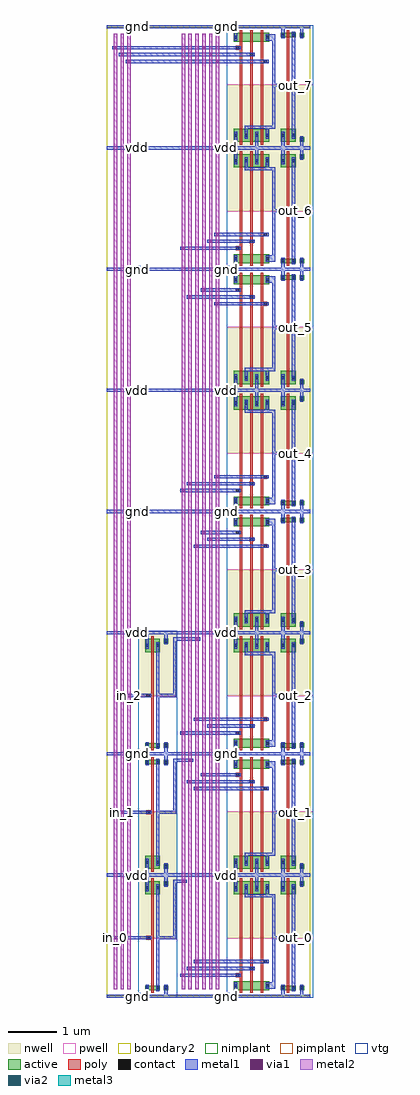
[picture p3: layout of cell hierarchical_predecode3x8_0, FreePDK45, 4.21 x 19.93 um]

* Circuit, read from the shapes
.subckt hierarchical_predecode3x8_0 gnd in_0 in_1 in_2 out_0 out_1 out_2 out_3 out_4 out_5 out_6 out_7 vdd
M1 pand3_3/A in_0 gnd gnd nfet w=0.09u l=0.05u
M2 pand3_3/B in_1 gnd gnd nfet w=0.09u l=0.05u
M3 pand3_3/C in_2 gnd gnd nfet w=0.09u l=0.05u
M4 pand3_3/pnand3_0_0/nmos_m1_w0_180_sm1_dactive_3/D pand3_3/A gnd gnd nfet w=0.18u l=0.05u
M5 pand3_4/pnand3_0_0/nmos_m1_w0_180_sm1_dactive_3/D in_0 gnd gnd nfet w=0.18u l=0.05u
M6 pand3_5/pnand3_0_0/nmos_m1_w0_180_sm1_dactive_3/D pand3_3/A gnd gnd nfet w=0.18u l=0.05u
M7 pand3_6/pnand3_0_0/nmos_m1_w0_180_sm1_dactive_3/D in_0 gnd gnd nfet w=0.18u l=0.05u
M8 pand3_7/pnand3_0_0/nmos_m1_w0_180_sm1_dactive_3/D pand3_3/A gnd gnd nfet w=0.18u l=0.05u
M9 pand3_8/pnand3_0_0/nmos_m1_w0_180_sm1_dactive_3/D in_0 gnd gnd nfet w=0.18u l=0.05u
M10 pand3_9/pnand3_0_0/nmos_m1_w0_180_sm1_dactive_3/D pand3_3/A gnd gnd nfet w=0.18u l=0.05u
M11 pand3_10/pnand3_0_0/nmos_m1_w0_180_sm1_dactive_3/D in_0 gnd gnd nfet w=0.18u l=0.05u
M12 pand3_3/pnand3_0_0/nmos_m1_w0_180_sactive_dactive_4/D pand3_3/B pand3_3/pnand3_0_0/nmos_m1_w0_180_sm1_dactive_3/D gnd nfet w=0.18u l=0.05u
M13 pand3_4/pnand3_0_0/nmos_m1_w0_180_sactive_dactive_4/D pand3_3/B pand3_4/pnand3_0_0/nmos_m1_w0_180_sm1_dactive_3/D gnd nfet w=0.18u l=0.05u
M14 pand3_5/pnand3_0_0/nmos_m1_w0_180_sactive_dactive_4/D in_1 pand3_5/pnand3_0_0/nmos_m1_w0_180_sm1_dactive_3/D gnd nfet w=0.18u l=0.05u
M15 pand3_6/pnand3_0_0/nmos_m1_w0_180_sactive_dactive_4/D in_1 pand3_6/pnand3_0_0/nmos_m1_w0_180_sm1_dactive_3/D gnd nfet w=0.18u l=0.05u
M16 pand3_7/pnand3_0_0/nmos_m1_w0_180_sactive_dactive_4/D pand3_3/B pand3_7/pnand3_0_0/nmos_m1_w0_180_sm1_dactive_3/D gnd nfet w=0.18u l=0.05u
M17 pand3_8/pnand3_0_0/nmos_m1_w0_180_sactive_dactive_4/D pand3_3/B pand3_8/pnand3_0_0/nmos_m1_w0_180_sm1_dactive_3/D gnd nfet w=0.18u l=0.05u
M18 pand3_9/pnand3_0_0/nmos_m1_w0_180_sactive_dactive_4/D in_1 pand3_9/pnand3_0_0/nmos_m1_w0_180_sm1_dactive_3/D gnd nfet w=0.18u l=0.05u
M19 pand3_10/pnand3_0_0/nmos_m1_w0_180_sactive_dactive_4/D in_1 pand3_10/pnand3_0_0/nmos_m1_w0_180_sm1_dactive_3/D gnd nfet w=0.18u l=0.05u
M20 pand3_3/pdriver_1/A pand3_3/C pand3_3/pnand3_0_0/nmos_m1_w0_180_sactive_dactive_4/D gnd nfet w=0.18u l=0.05u
M21 pand3_4/pdriver_1/A pand3_3/C pand3_4/pnand3_0_0/nmos_m1_w0_180_sactive_dactive_4/D gnd nfet w=0.18u l=0.05u
M22 pand3_5/pdriver_1/A pand3_3/C pand3_5/pnand3_0_0/nmos_m1_w0_180_sactive_dactive_4/D gnd nfet w=0.18u l=0.05u
M23 pand3_6/pdriver_1/A pand3_3/C pand3_6/pnand3_0_0/nmos_m1_w0_180_sactive_dactive_4/D gnd nfet w=0.18u l=0.05u
M24 pand3_7/pdriver_1/A in_2 pand3_7/pnand3_0_0/nmos_m1_w0_180_sactive_dactive_4/D gnd nfet w=0.18u l=0.05u
M25 pand3_8/pdriver_1/A in_2 pand3_8/pnand3_0_0/nmos_m1_w0_180_sactive_dactive_4/D gnd nfet w=0.18u l=0.05u
M26 pand3_9/pdriver_1/A in_2 pand3_9/pnand3_0_0/nmos_m1_w0_180_sactive_dactive_4/D gnd nfet w=0.18u l=0.05u
M27 pand3_10/pdriver_1/A in_2 pand3_10/pnand3_0_0/nmos_m1_w0_180_sactive_dactive_4/D gnd nfet w=0.18u l=0.05u
M28 out_0 pand3_3/pdriver_1/A gnd gnd nfet w=0.09u l=0.05u
M29 out_1 pand3_4/pdriver_1/A gnd gnd nfet w=0.09u l=0.05u
M30 out_2 pand3_5/pdriver_1/A gnd gnd nfet w=0.09u l=0.05u
M31 out_3 pand3_6/pdriver_1/A gnd gnd nfet w=0.09u l=0.05u
M32 out_4 pand3_7/pdriver_1/A gnd gnd nfet w=0.09u l=0.05u
M33 out_5 pand3_8/pdriver_1/A gnd gnd nfet w=0.09u l=0.05u
M34 out_6 pand3_9/pdriver_1/A gnd gnd nfet w=0.09u l=0.05u
M35 out_7 pand3_10/pdriver_1/A gnd gnd nfet w=0.09u l=0.05u
M36 pand3_3/A in_0 vdd vdd pfet w=0.27u l=0.05u
M37 pand3_3/B in_1 vdd vdd pfet w=0.27u l=0.05u
M38 pand3_3/C in_2 vdd vdd pfet w=0.27u l=0.05u
M39 pand3_3/pdriver_1/A pand3_3/A vdd vdd pfet w=0.27u l=0.05u
M40 pand3_4/pdriver_1/A in_0 vdd vdd pfet w=0.27u l=0.05u
M41 pand3_5/pdriver_1/A pand3_3/A vdd vdd pfet w=0.27u l=0.05u
M42 pand3_6/pdriver_1/A in_0 vdd vdd pfet w=0.27u l=0.05u
M43 pand3_7/pdriver_1/A pand3_3/A vdd vdd pfet w=0.27u l=0.05u
M44 pand3_8/pdriver_1/A in_0 vdd vdd pfet w=0.27u l=0.05u
M45 pand3_9/pdriver_1/A pand3_3/A vdd vdd pfet w=0.27u l=0.05u
M46 pand3_10/pdriver_1/A in_0 vdd vdd pfet w=0.27u l=0.05u
M47 vdd pand3_3/B pand3_3/pdriver_1/A vdd pfet w=0.27u l=0.05u
M48 vdd pand3_3/B pand3_4/pdriver_1/A vdd pfet w=0.27u l=0.05u
M49 vdd in_1 pand3_5/pdriver_1/A vdd pfet w=0.27u l=0.05u
M50 vdd in_1 pand3_6/pdriver_1/A vdd pfet w=0.27u l=0.05u
M51 vdd pand3_3/B pand3_7/pdriver_1/A vdd pfet w=0.27u l=0.05u
M52 vdd pand3_3/B pand3_8/pdriver_1/A vdd pfet w=0.27u l=0.05u
M53 vdd in_1 pand3_9/pdriver_1/A vdd pfet w=0.27u l=0.05u
M54 vdd in_1 pand3_10/pdriver_1/A vdd pfet w=0.27u l=0.05u
M55 pand3_3/pdriver_1/A pand3_3/C vdd vdd pfet w=0.27u l=0.05u
M56 pand3_4/pdriver_1/A pand3_3/C vdd vdd pfet w=0.27u l=0.05u
M57 pand3_5/pdriver_1/A pand3_3/C vdd vdd pfet w=0.27u l=0.05u
M58 pand3_6/pdriver_1/A pand3_3/C vdd vdd pfet w=0.27u l=0.05u
M59 pand3_7/pdriver_1/A in_2 vdd vdd pfet w=0.27u l=0.05u
M60 pand3_8/pdriver_1/A in_2 vdd vdd pfet w=0.27u l=0.05u
M61 pand3_9/pdriver_1/A in_2 vdd vdd pfet w=0.27u l=0.05u
M62 pand3_10/pdriver_1/A in_2 vdd vdd pfet w=0.27u l=0.05u
M63 out_0 pand3_3/pdriver_1/A vdd vdd pfet w=0.27u l=0.05u
M64 out_1 pand3_4/pdriver_1/A vdd vdd pfet w=0.27u l=0.05u
M65 out_2 pand3_5/pdriver_1/A vdd vdd pfet w=0.27u l=0.05u
M66 out_3 pand3_6/pdriver_1/A vdd vdd pfet w=0.27u l=0.05u
M67 out_4 pand3_7/pdriver_1/A vdd vdd pfet w=0.27u l=0.05u
M68 out_5 pand3_8/pdriver_1/A vdd vdd pfet w=0.27u l=0.05u
M69 out_6 pand3_9/pdriver_1/A vdd vdd pfet w=0.27u l=0.05u
M70 out_7 pand3_10/pdriver_1/A vdd vdd pfet w=0.27u l=0.05u
.ends

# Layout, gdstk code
import gdstk
lib = gdstk.Library(unit=1e-6, precision=5e-10)
def R(c, l, rs):  # rectangles x0, y0, x1, y1
    for r in rs: c.add(gdstk.rectangle(r[:2], r[2:], *l))
def A(c, l, x, y, w, h, nx, ny, dx, dy):  # array of equal rectangles
    R(c, l, [(x+i*dx, y+j*dy, x+i*dx+w, y+j*dy+h) for i in range(nx) for j in range(ny)])
active = (1, 0)
pwell = (2, 0)
nwell = (3, 0)
nimplant = (4, 0)
pimplant = (5, 0)
vtg = (6, 0)
poly = (9, 0)
contact = (10, 0)
metal1 = (11, 0)
via1 = (12, 0)
metal2 = (13, 0)
via2 = (14, 0)
metal3 = (15, 0)
boundary2 = (239, 0)

contact_9 = lib.new_cell('contact_9')
R(contact_9, active, [(0,0.0225,0.09,0.1125)])
R(contact_9, nwell, [(-0.055,-0.0325,0.145,0.1675)])
R(contact_9, pimplant, [(0,0.0225,0.09,0.1125)])
R(contact_9, contact, [(0.0125,0.035,0.0775,0.1)])
R(contact_9, metal1, [(0.0125,0,0.0775,0.135)])
R(contact_9, boundary2, [(-0.055,-0.0325,0.145,0.1675)])

pmos_m1_w0_270_sm1_dm1_d = lib.new_cell('pmos_m1_w0_270_sm1_dm1_da_p')
R(pmos_m1_w0_270_sm1_dm1_d, active, [(0,0,0.305,0.27)])
R(pmos_m1_w0_270_sm1_dm1_d, nwell, [(-0.08,-0.08,0.385,0.35)])
R(pmos_m1_w0_270_sm1_dm1_d, pimplant, [(0,0,0.305,0.27)])
R(pmos_m1_w0_270_sm1_dm1_d, vtg, [(-0.08,-0.08,0.385,0.35)])
R(pmos_m1_w0_270_sm1_dm1_d, poly, [(0.1275,-0.055,0.1775,0.325), (0.1275,-0.055,0.1775,0.325)])
R(pmos_m1_w0_270_sm1_dm1_d, metal1, [(0.0125,0.0675,0.0775,0.2025), (0.2275,0.0675,0.2925,0.2025)])
R(pmos_m1_w0_270_sm1_dm1_d, boundary2, [(-0.08,-0.08,0.385,0.35)])
pmos_m1_w0_270_sm1_dm1_d.add(gdstk.Reference(contact_9, (0,0.0675)))
pmos_m1_w0_270_sm1_dm1_d.add(gdstk.Reference(contact_9, (0.215,0.0675)))
pmos_m1_w0_270_sm1_dm1_d.add(gdstk.Label('G', (0.1525,0.135), layer=9, texttype=0))
pmos_m1_w0_270_sm1_dm1_d.add(gdstk.Label('S', (0.045,0.135), layer=11, texttype=0))
pmos_m1_w0_270_sm1_dm1_d.add(gdstk.Label('D', (0.26,0.135), layer=11, texttype=0))

contact_14 = lib.new_cell('contact_14')
R(contact_14, active, [(0,0.0225,0.09,0.1125)])
R(contact_14, pwell, [(-0.055,-0.0325,0.145,0.1675)])
R(contact_14, nimplant, [(0,0.0225,0.09,0.1125)])
R(contact_14, contact, [(0.0125,0.035,0.0775,0.1)])
R(contact_14, metal1, [(0.0125,0,0.0775,0.135)])
R(contact_14, boundary2, [(-0.055,-0.0325,0.145,0.1675)])

nmos_m1_w0_090_sm1_dm1_d = lib.new_cell('nmos_m1_w0_090_sm1_dm1_da_p')
R(nmos_m1_w0_090_sm1_dm1_d, active, [(0,0,0.305,0.09)])
R(nmos_m1_w0_090_sm1_dm1_d, pwell, [(-0.08,-0.08,0.385,0.17)])
R(nmos_m1_w0_090_sm1_dm1_d, nimplant, [(0,0,0.305,0.09)])
R(nmos_m1_w0_090_sm1_dm1_d, vtg, [(-0.08,-0.08,0.385,0.17)])
R(nmos_m1_w0_090_sm1_dm1_d, poly, [(0.1275,-0.055,0.1775,0.145), (0.1275,-0.055,0.1775,0.145)])
R(nmos_m1_w0_090_sm1_dm1_d, metal1, [(0.0125,-0.0225,0.0775,0.1125), (0.2275,-0.0225,0.2925,0.1125)])
R(nmos_m1_w0_090_sm1_dm1_d, boundary2, [(-0.08,-0.08,0.385,0.17)])
nmos_m1_w0_090_sm1_dm1_d.add(gdstk.Reference(contact_14, (0,-0.0225)))
nmos_m1_w0_090_sm1_dm1_d.add(gdstk.Reference(contact_14, (0.215,-0.0225)))
nmos_m1_w0_090_sm1_dm1_d.add(gdstk.Label('G', (0.1525,0.045), layer=9, texttype=0))
nmos_m1_w0_090_sm1_dm1_d.add(gdstk.Label('S', (0.045,0.045), layer=11, texttype=0))
nmos_m1_w0_090_sm1_dm1_d.add(gdstk.Label('D', (0.26,0.045), layer=11, texttype=0))

contact_18 = lib.new_cell('contact_18')
R(contact_18, active, [(0,0.0225,0.09,0.1125)])
R(contact_18, nwell, [(-0.055,-0.0325,0.145,0.1675)])
R(contact_18, nimplant, [(0,0.0225,0.09,0.1125)])
R(contact_18, contact, [(0.0125,0.035,0.0775,0.1)])
R(contact_18, metal1, [(0.0125,0,0.0775,0.135)])
R(contact_18, boundary2, [(-0.055,-0.0325,0.145,0.1675)])

contact_19 = lib.new_cell('contact_19')
R(contact_19, active, [(0,0.0225,0.09,0.1125)])
R(contact_19, pwell, [(-0.055,-0.0325,0.145,0.1675)])
R(contact_19, pimplant, [(0,0.0225,0.09,0.1125)])
R(contact_19, contact, [(0.0125,0.035,0.0775,0.1)])
R(contact_19, metal1, [(0.0125,0,0.0775,0.135)])
R(contact_19, boundary2, [(-0.055,-0.0325,0.145,0.1675)])

contact_10 = lib.new_cell('contact_10')
R(contact_10, poly, [(0.03,0,0.105,0.075)])
R(contact_10, contact, [(0.035,0.005,0.1,0.07)])
R(contact_10, metal1, [(0,0.005,0.135,0.07)])
R(contact_10, boundary2, [(0,0,0.135,0.075)])

pinv_2 = lib.new_cell('pinv_2')
R(pinv_2, pwell, [(-0.055,-0.0325,0.7425,1.1875)])
R(pinv_2, nwell, [(-0.055,1.1875,0.7425,2.51)])
R(pinv_2, vtg, [(-0.055,-0.0325,0.7425,1.1875), (-0.055,1.1875,0.7425,2.51)])
R(pinv_2, poly, [(0.2075,0.27,0.2575,2.025), (0.14,1.155,0.2075,1.23)])
R(pinv_2, metal1, [(0,-0.0325,0.6875,0.0325), (0.0925,-0.0325,0.1575,0.1025), (0.4775,0,0.5425,0.17), (0.3075,0.1025,0.3725,2.2825), (0.0725,1.16,0.2075,1.225), (0.34,1.16,0.405,1.225), (0.0925,2.1475,0.1575,2.5075), (0.4775,2.305,0.5425,2.475), (0,2.4425,0.6875,2.5075)])
R(pinv_2, boundary2, [(0,0,0.6875,2.475), (0,0,0.6875,2.475)])
pinv_2.add(gdstk.Reference(pmos_m1_w0_270_sm1_dm1_d, (0.08,2.08)))
pinv_2.add(gdstk.Reference(nmos_m1_w0_090_sm1_dm1_d, (0.08,0.125)))
pinv_2.add(gdstk.Reference(contact_18, (0.465,2.2375)))
pinv_2.add(gdstk.Reference(contact_19, (0.465,0.1025)))
pinv_2.add(gdstk.Reference(contact_10, (0.0725,1.155)))
pinv_2.add(gdstk.Label('A', (0.14,1.1925), layer=11, texttype=0))
pinv_2.add(gdstk.Label('Z', (0.3725,1.1925), layer=11, texttype=0))
pinv_2.add(gdstk.Label('gnd', (0.344,0), layer=11, texttype=0))
pinv_2.add(gdstk.Label('vdd', (0.344,2.475), layer=11, texttype=0))

pmos_m1_w0_270_sm1_dm1 = lib.new_cell('pmos_m1_w0_270_sm1_dm1')
R(pmos_m1_w0_270_sm1_dm1, active, [(0,0,0.305,0.27)])
R(pmos_m1_w0_270_sm1_dm1, nwell, [(-0.08,-0.08,0.385,0.35)])
R(pmos_m1_w0_270_sm1_dm1, pimplant, [(0,0,0.305,0.27)])
R(pmos_m1_w0_270_sm1_dm1, vtg, [(-0.08,-0.08,0.385,0.35)])
R(pmos_m1_w0_270_sm1_dm1, poly, [(0.1275,-0.055,0.1775,0.325), (0.1275,-0.055,0.1775,0.325)])
R(pmos_m1_w0_270_sm1_dm1, metal1, [(0.0125,0.0675,0.0775,0.2025), (0.2275,0.0675,0.2925,0.2025)])
R(pmos_m1_w0_270_sm1_dm1, boundary2, [(-0.08,-0.08,0.385,0.35)])
pmos_m1_w0_270_sm1_dm1.add(gdstk.Reference(contact_9, (0,0.0675)))
pmos_m1_w0_270_sm1_dm1.add(gdstk.Reference(contact_9, (0.215,0.0675)))
pmos_m1_w0_270_sm1_dm1.add(gdstk.Label('G', (0.1525,0.135), layer=9, texttype=0))
pmos_m1_w0_270_sm1_dm1.add(gdstk.Label('S', (0.045,0.135), layer=11, texttype=0))
pmos_m1_w0_270_sm1_dm1.add(gdstk.Label('D', (0.26,0.135), layer=11, texttype=0))

nmos_m1_w0_180_sm1_dacti = lib.new_cell('nmos_m1_w0_180_sm1_dactive')
R(nmos_m1_w0_180_sm1_dacti, active, [(0,0,0.305,0.18), (0.215,0.045,0.305,0.135)])
R(nmos_m1_w0_180_sm1_dacti, pwell, [(-0.08,-0.08,0.385,0.26)])
R(nmos_m1_w0_180_sm1_dacti, nimplant, [(0,0,0.305,0.18)])
R(nmos_m1_w0_180_sm1_dacti, vtg, [(-0.08,-0.08,0.385,0.26)])
R(nmos_m1_w0_180_sm1_dacti, poly, [(0.1275,-0.055,0.1775,0.235), (0.1275,-0.055,0.1775,0.235)])
R(nmos_m1_w0_180_sm1_dacti, metal1, [(0.0125,0.0225,0.0775,0.1575)])
R(nmos_m1_w0_180_sm1_dacti, boundary2, [(-0.08,-0.08,0.385,0.26)])
nmos_m1_w0_180_sm1_dacti.add(gdstk.Reference(contact_14, (0,0.0225)))
nmos_m1_w0_180_sm1_dacti.add(gdstk.Label('G', (0.1525,0.09), layer=9, texttype=0))
nmos_m1_w0_180_sm1_dacti.add(gdstk.Label('S', (0.045,0.09), layer=11, texttype=0))
nmos_m1_w0_180_sm1_dacti.add(gdstk.Label('D', (0.26,0.09), layer=1, texttype=0))

nmos_m1_w0_180_sactive_d = lib.new_cell('nmos_m1_w0_180_sactive_dactive')
R(nmos_m1_w0_180_sactive_d, active, [(0,0,0.305,0.18), (0,0.045,0.09,0.135), (0.215,0.045,0.305,0.135)])
R(nmos_m1_w0_180_sactive_d, pwell, [(-0.08,-0.08,0.385,0.26)])
R(nmos_m1_w0_180_sactive_d, nimplant, [(0,0,0.305,0.18)])
R(nmos_m1_w0_180_sactive_d, vtg, [(-0.08,-0.08,0.385,0.26)])
R(nmos_m1_w0_180_sactive_d, poly, [(0.1275,-0.055,0.1775,0.235), (0.1275,-0.055,0.1775,0.235)])
R(nmos_m1_w0_180_sactive_d, boundary2, [(-0.08,-0.08,0.385,0.26)])
nmos_m1_w0_180_sactive_d.add(gdstk.Label('G', (0.1525,0.09), layer=9, texttype=0))
nmos_m1_w0_180_sactive_d.add(gdstk.Label('S', (0.045,0.09), layer=1, texttype=0))
nmos_m1_w0_180_sactive_d.add(gdstk.Label('D', (0.26,0.09), layer=1, texttype=0))

c_nmos_m1_w0_180_sactive_d = lib.new_cell('nmos_m1_w0_180_sactive_dm1')
R(c_nmos_m1_w0_180_sactive_d, active, [(0,0,0.305,0.18), (0,0.045,0.09,0.135)])
R(c_nmos_m1_w0_180_sactive_d, pwell, [(-0.08,-0.08,0.385,0.26)])
R(c_nmos_m1_w0_180_sactive_d, nimplant, [(0,0,0.305,0.18)])
R(c_nmos_m1_w0_180_sactive_d, vtg, [(-0.08,-0.08,0.385,0.26)])
R(c_nmos_m1_w0_180_sactive_d, poly, [(0.1275,-0.055,0.1775,0.235), (0.1275,-0.055,0.1775,0.235)])
R(c_nmos_m1_w0_180_sactive_d, metal1, [(0.2275,0.0225,0.2925,0.1575)])
R(c_nmos_m1_w0_180_sactive_d, boundary2, [(-0.08,-0.08,0.385,0.26)])
c_nmos_m1_w0_180_sactive_d.add(gdstk.Reference(contact_14, (0.215,0.0225)))
c_nmos_m1_w0_180_sactive_d.add(gdstk.Label('G', (0.1525,0.09), layer=9, texttype=0))
c_nmos_m1_w0_180_sactive_d.add(gdstk.Label('S', (0.045,0.09), layer=1, texttype=0))
c_nmos_m1_w0_180_sactive_d.add(gdstk.Label('D', (0.26,0.09), layer=11, texttype=0))

pnand3_0 = lib.new_cell('pnand3_0')
R(pnand3_0, pwell, [(-0.055,-0.0325,1.02,1.1875)])
R(pnand3_0, nwell, [(-0.055,1.1875,1.02,2.51)])
R(pnand3_0, vtg, [(-0.055,-0.0325,1.02,1.1875), (-0.055,1.1875,1.02,2.51)])
A(pnand3_0, poly, 0.2075, 0.36, 0.05, 1.665, 3, 1, 0.215, 0)
R(pnand3_0, poly, [(0.165,0.39,0.2075,0.465), (0.4225,0.53,0.4475,0.605), (0.6375,0.67,0.73,0.745)])
R(pnand3_0, metal1, [(0,-0.0325,0.965,0.0325), (0.0925,-0.0325,0.1575,0.1475), (0.77,0.1475,0.9,0.2825), (0.8675,0.1475,0.9325,2.05), (0.0975,0.395,0.2325,0.46), (0.38,0.535,0.515,0.6), (0.6625,0.675,0.7975,0.74), (0.3075,2.0175,0.3725,2.0825), (0.34,2.0175,0.9,2.0825), (0.7375,2.0175,0.8025,2.0825), (0.77,2.0175,0.9,2.0825), (0.8675,2.0175,0.9325,2.0825), (0.3075,2.05,0.3725,2.215), (0.7375,2.05,0.8025,2.215), (0.0925,2.1475,0.1575,2.5075), (0.5225,2.1475,0.5875,2.5075), (0,2.4425,0.965,2.5075)])
R(pnand3_0, boundary2, [(0,0,0.965,2.475), (0,0,0.965,2.475)])
pnand3_0.add(gdstk.Reference(pmos_m1_w0_270_sm1_dm1, (0.08,2.08)))
pnand3_0.add(gdstk.Reference(pmos_m1_w0_270_sm1_dm1, (0.295,2.08)))
pnand3_0.add(gdstk.Reference(pmos_m1_w0_270_sm1_dm1, (0.51,2.08)))
pnand3_0.add(gdstk.Reference(nmos_m1_w0_180_sm1_dacti, (0.08,0.125)))
pnand3_0.add(gdstk.Reference(nmos_m1_w0_180_sactive_d, (0.295,0.125)))
pnand3_0.add(gdstk.Reference(c_nmos_m1_w0_180_sactive_d, (0.51,0.125)))
pnand3_0.add(gdstk.Reference(contact_10, (0.0975,0.39)))
pnand3_0.add(gdstk.Reference(contact_10, (0.38,0.53)))
pnand3_0.add(gdstk.Reference(contact_10, (0.6625,0.67)))
pnand3_0.add(gdstk.Label('A', (0.165,0.4275), layer=11, texttype=0))
pnand3_0.add(gdstk.Label('B', (0.4475,0.5675), layer=11, texttype=0))
pnand3_0.add(gdstk.Label('C', (0.73,0.7075), layer=11, texttype=0))
pnand3_0.add(gdstk.Label('Z', (0.9,2.05), layer=11, texttype=0))
pnand3_0.add(gdstk.Label('gnd', (0.4825,0), layer=11, texttype=0))
pnand3_0.add(gdstk.Label('vdd', (0.4825,2.475), layer=11, texttype=0))

pinv_1 = lib.new_cell('pinv_1')
R(pinv_1, pwell, [(-0.055,-0.0325,0.7425,1.1875)])
R(pinv_1, nwell, [(-0.055,1.1875,0.7425,2.51)])
R(pinv_1, vtg, [(-0.055,-0.0325,0.7425,1.1875), (-0.055,1.1875,0.7425,2.51)])
R(pinv_1, poly, [(0.2075,0.27,0.2575,2.025), (0.14,1.155,0.2075,1.23)])
R(pinv_1, metal1, [(0,-0.0325,0.6875,0.0325), (0.0925,-0.0325,0.1575,0.1025), (0.4775,0,0.5425,0.17), (0.3075,0.1025,0.3725,2.2825), (0.0725,1.16,0.2075,1.225), (0.34,1.16,0.405,1.225), (0.0925,2.1475,0.1575,2.5075), (0.4775,2.305,0.5425,2.475), (0,2.4425,0.6875,2.5075)])
R(pinv_1, boundary2, [(0,0,0.6875,2.475), (0,0,0.6875,2.475)])
pinv_1.add(gdstk.Reference(pmos_m1_w0_270_sm1_dm1_d, (0.08,2.08)))
pinv_1.add(gdstk.Reference(nmos_m1_w0_090_sm1_dm1_d, (0.08,0.125)))
pinv_1.add(gdstk.Reference(contact_18, (0.465,2.2375)))
pinv_1.add(gdstk.Reference(contact_19, (0.465,0.1025)))
pinv_1.add(gdstk.Reference(contact_10, (0.0725,1.155)))
pinv_1.add(gdstk.Label('A', (0.14,1.1925), layer=11, texttype=0))
pinv_1.add(gdstk.Label('Z', (0.3725,1.1925), layer=11, texttype=0))
pinv_1.add(gdstk.Label('gnd', (0.344,0), layer=11, texttype=0))
pinv_1.add(gdstk.Label('vdd', (0.344,2.475), layer=11, texttype=0))

pdriver = lib.new_cell('pdriver')
R(pdriver, pwell, [(-0.055,-0.0325,0.7425,1.1875)])
R(pdriver, nwell, [(-0.055,1.1875,0.7425,2.51)])
R(pdriver, vtg, [(-0.055,-0.0325,0.7425,1.1875), (-0.055,1.1875,0.7425,2.51)])
R(pdriver, metal1, [(0,-0.0325,0.6875,0.0325), (0.0725,1.16,0.2075,1.225), (0.34,1.16,0.405,1.225), (0,2.4425,0.6875,2.5075)])
R(pdriver, boundary2, [(0,0,0.6875,2.475), (0,0,0.6875,2.475)])
pdriver.add(gdstk.Reference(pinv_1, (0,0)))
pdriver.add(gdstk.Label('Z', (0.3725,1.1925), layer=11, texttype=0))
pdriver.add(gdstk.Label('A', (0.14,1.1925), layer=11, texttype=0))
pdriver.add(gdstk.Label('gnd', (0.344,0), layer=11, texttype=0))
pdriver.add(gdstk.Label('vdd', (0.344,2.475), layer=11, texttype=0))

pand3 = lib.new_cell('pand3')
R(pand3, metal1, [(0,-0.0325,1.6525,0.0325), (0.0975,0.395,0.2325,0.46), (0.38,0.535,0.515,0.6), (0.6625,0.675,0.7975,0.74), (0.8675,1.16,0.9325,1.225), (0.9,1.16,1.105,1.225), (1.305,1.16,1.37,1.225), (0.8675,1.1925,0.9325,2.05), (0,2.4425,1.6525,2.5075)])
R(pand3, boundary2, [(0,0,1.6525,2.475), (0,0,1.6525,2.475)])
pand3.add(gdstk.Reference(pnand3_0, (0,0)))
pand3.add(gdstk.Reference(pdriver, (0.965,0)))
pand3.add(gdstk.Label('Z', (1.3375,1.1925), layer=11, texttype=0))
pand3.add(gdstk.Label('A', (0.165,0.4275), layer=11, texttype=0))
pand3.add(gdstk.Label('B', (0.4475,0.5675), layer=11, texttype=0))
pand3.add(gdstk.Label('C', (0.73,0.7075), layer=11, texttype=0))
pand3.add(gdstk.Label('gnd', (0.826,0), layer=11, texttype=0))
pand3.add(gdstk.Label('vdd', (0.826,2.475), layer=11, texttype=0))

contact_17 = lib.new_cell('contact_17')
R(contact_17, metal1, [(0,0.035,0.135,0.1)])
R(contact_17, via1, [(0.035,0.035,0.1,0.1)])
R(contact_17, metal2, [(0.0325,0,0.1025,0.135)])
R(contact_17, boundary2, [(0,0,0.135,0.135)])

contact_6 = lib.new_cell('contact_6')
R(contact_6, metal1, [(0,0.035,0.135,0.1)])
R(contact_6, via1, [(0.035,0.035,0.1,0.1)])
R(contact_6, metal2, [(0.0325,0,0.1025,0.135)])
R(contact_6, boundary2, [(0,0,0.135,0.135)])

contact_7 = lib.new_cell('contact_7')
R(contact_7, metal2, [(0.0325,0,0.1025,0.135)])
R(contact_7, via2, [(0.035,0.035,0.1,0.1)])
R(contact_7, metal3, [(0,0.0325,0.135,0.1025)])
R(contact_7, boundary2, [(0,0,0.135,0.135)])

hierarchical_predecode3x = lib.new_cell('hierarchical_predecode3x8_0')
A(hierarchical_predecode3x, metal1, 1.5625, 0.395, 1.11, 0.065, 1, 4, 0, 4.95)
A(hierarchical_predecode3x, metal1, 1.9825, 4.49, 0.69, 0.065, 1, 4, 0, 4.95)
R(hierarchical_predecode3x, metal1, [(0,-0.0325,4.16,0.0325), (2.64,0.395,2.705,0.46), (1.7025,0.535,2.955,0.6), (2.9225,0.535,2.9875,0.6), (1.8425,0.675,3.2375,0.74), (3.205,0.675,3.27,0.74), (0.175,1.16,0.84,1.225), (0.8075,1.16,0.8725,1.225), (1.0725,1.16,1.1375,1.225), (1.105,1.16,1.3875,1.225), (1.355,1.16,1.42,1.225), (3.8125,1.16,3.8775,1.225), (1.355,1.1925,1.42,2.345), (1.355,2.3125,1.42,2.3775), (1.3875,2.3125,1.5625,2.3775), (0,2.4425,4.16,2.5075), (0,2.4425,4.16,2.5075), (0.315,3.725,0.84,3.79), (0.8075,3.725,0.8725,3.79), (1.0725,3.725,1.1375,3.79), (1.105,3.725,1.3875,3.79), (1.355,3.725,1.42,3.79), (3.8125,3.725,3.8775,3.79), (1.355,3.7575,1.42,4.82), (1.8425,4.21,3.2375,4.275), (3.205,4.21,3.27,4.275), (1.7025,4.35,2.955,4.415), (2.9225,4.35,2.9875,4.415), (2.64,4.49,2.705,4.555), (1.355,4.7875,1.42,4.8525), (1.3875,4.7875,1.7025,4.8525), (0,4.9175,4.16,4.9825), (0,4.9175,4.16,4.9825), (2.64,5.345,2.705,5.41), (2.1225,5.485,2.955,5.55), (2.9225,5.485,2.9875,5.55), (1.8425,5.625,3.2375,5.69), (3.205,5.625,3.27,5.69), (0.455,6.11,0.84,6.175), (0.8075,6.11,0.8725,6.175), (1.0725,6.11,1.1375,6.175), (1.105,6.11,1.3875,6.175), (1.355,6.11,1.42,6.175), (3.8125,6.11,3.8775,6.175), (1.355,6.1425,1.42,7.295), (1.355,7.2625,1.42,7.3275), (1.3875,7.2625,1.8425,7.3275), (0,7.3925,4.16,7.4575), (0,7.3925,4.16,7.4575), (3.8125,8.675,3.8775,8.74), (1.8425,9.16,3.2375,9.225), (3.205,9.16,3.27,9.225), (2.1225,9.3,2.955,9.365), (2.9225,9.3,2.9875,9.365), (2.64,9.44,2.705,9.505), (0,9.8675,4.16,9.9325), (0,9.8675,4.16,9.9325), (2.64,10.295,2.705,10.36), (1.7025,10.435,2.955,10.5), (2.9225,10.435,2.9875,10.5), (2.2625,10.575,3.2375,10.64), (3.205,10.575,3.27,10.64), (3.8125,11.06,3.8775,11.125), (0,12.3425,4.16,12.4075), (0,12.3425,4.16,12.4075), (3.8125,13.625,3.8775,13.69), (2.2625,14.11,3.2375,14.175), (3.205,14.11,3.27,14.175), (1.7025,14.25,2.955,14.315), (2.9225,14.25,2.9875,14.315), (2.64,14.39,2.705,14.455), (0,14.8175,4.16,14.8825), (0,14.8175,4.16,14.8825), (2.64,15.245,2.705,15.31), (2.1225,15.385,2.955,15.45), (2.9225,15.385,2.9875,15.45), (2.2625,15.525,3.2375,15.59), (3.205,15.525,3.27,15.59), (3.8125,16.01,3.8775,16.075), (0,17.2925,4.16,17.3575), (0,17.2925,4.16,17.3575), (3.8125,18.575,3.8775,18.64), (0.455,19.06,2.2625,19.125), (2.2625,19.06,3.2375,19.125), (3.205,19.06,3.27,19.125), (0.315,19.2,2.1225,19.265), (2.1225,19.2,2.955,19.265), (2.9225,19.2,2.9875,19.265), (0.175,19.34,1.9825,19.405), (2.64,19.34,2.705,19.405), (0,19.7675,4.16,19.8325)])
A(hierarchical_predecode3x, metal2, 0.14, 0.14, 0.07, 19.52, 3, 1, 0.14, 0)
A(hierarchical_predecode3x, metal2, 1.5275, 0.14, 0.07, 19.52, 6, 1, 0.14, 0)
R(hierarchical_predecode3x, metal2, [(0.14,1.125,0.21,1.26), (0.28,3.69,0.35,3.825), (0.42,6.075,0.49,6.21)])
A(hierarchical_predecode3x, metal3, 0.5625, 2.4075, 0.135, 0.135, 1, 3, 0, 2.475)
A(hierarchical_predecode3x, metal3, 2.37, 2.4075, 0.135, 0.135, 1, 3, 0, 2.475)
A(hierarchical_predecode3x, metal3, 0.5625, 7.3575, 0.135, 0.135, 1, 5, 0, 2.475)
A(hierarchical_predecode3x, metal3, 2.37, 7.3575, 0.135, 0.135, 1, 5, 0, 2.475)
R(hierarchical_predecode3x, metal3, [(0.5625,-0.0675,0.6975,0.0675), (2.37,-0.0675,2.505,0.0675), (0.5625,2.4075,0.6975,2.5425), (2.37,2.4075,2.505,2.5425), (0.5625,17.2575,0.6975,17.3925), (2.37,17.2575,2.505,17.3925), (0.5625,19.7325,0.6975,19.8675), (2.37,19.7325,2.505,19.8675)])
R(hierarchical_predecode3x, boundary2, [(0,0,4.16,19.8)])
hierarchical_predecode3x.add(gdstk.Reference(pinv_2, (0.7,0)))
hierarchical_predecode3x.add(gdstk.Reference(pinv_2, (0.7,4.95), x_reflection=True))
hierarchical_predecode3x.add(gdstk.Reference(pinv_2, (0.7,4.95)))
hierarchical_predecode3x.add(gdstk.Reference(pand3, (2.5075,0)))
hierarchical_predecode3x.add(gdstk.Reference(pand3, (2.5075,4.95), x_reflection=True))
hierarchical_predecode3x.add(gdstk.Reference(pand3, (2.5075,4.95)))
hierarchical_predecode3x.add(gdstk.Reference(pand3, (2.5075,9.9), x_reflection=True))
hierarchical_predecode3x.add(gdstk.Reference(pand3, (2.5075,9.9)))
hierarchical_predecode3x.add(gdstk.Reference(pand3, (2.5075,14.85), x_reflection=True))
hierarchical_predecode3x.add(gdstk.Reference(pand3, (2.5075,14.85)))
hierarchical_predecode3x.add(gdstk.Reference(pand3, (2.5075,19.8), x_reflection=True))
hierarchical_predecode3x.add(gdstk.Reference(contact_17, (1.495,2.2775)))
hierarchical_predecode3x.add(gdstk.Reference(contact_6, (0.1075,1.125)))
hierarchical_predecode3x.add(gdstk.Reference(contact_17, (1.635,4.7525)))
hierarchical_predecode3x.add(gdstk.Reference(contact_6, (0.2475,3.69)))
hierarchical_predecode3x.add(gdstk.Reference(contact_17, (1.775,7.2275)))
hierarchical_predecode3x.add(gdstk.Reference(contact_6, (0.3875,6.075)))
hierarchical_predecode3x.add(gdstk.Reference(contact_6, (0.1075,19.305)))
hierarchical_predecode3x.add(gdstk.Reference(contact_6, (1.915,19.305)))
hierarchical_predecode3x.add(gdstk.Reference(contact_6, (0.2475,19.165)))
hierarchical_predecode3x.add(gdstk.Reference(contact_6, (2.055,19.165)))
hierarchical_predecode3x.add(gdstk.Reference(contact_6, (0.3875,19.025)))
hierarchical_predecode3x.add(gdstk.Reference(contact_6, (2.195,19.025)))
hierarchical_predecode3x.add(gdstk.Reference(contact_17, (1.495,0.36)))
hierarchical_predecode3x.add(gdstk.Reference(contact_17, (1.635,0.5)))
hierarchical_predecode3x.add(gdstk.Reference(contact_17, (1.775,0.64)))
hierarchical_predecode3x.add(gdstk.Reference(contact_17, (1.915,4.455)))
hierarchical_predecode3x.add(gdstk.Reference(contact_17, (1.635,4.315)))
hierarchical_predecode3x.add(gdstk.Reference(contact_17, (1.775,4.175)))
hierarchical_predecode3x.add(gdstk.Reference(contact_17, (1.495,5.31)))
hierarchical_predecode3x.add(gdstk.Reference(contact_17, (2.055,5.45)))
hierarchical_predecode3x.add(gdstk.Reference(contact_17, (1.775,5.59)))
hierarchical_predecode3x.add(gdstk.Reference(contact_17, (1.915,9.405)))
hierarchical_predecode3x.add(gdstk.Reference(contact_17, (2.055,9.265)))
hierarchical_predecode3x.add(gdstk.Reference(contact_17, (1.775,9.125)))
hierarchical_predecode3x.add(gdstk.Reference(contact_17, (1.495,10.26)))
hierarchical_predecode3x.add(gdstk.Reference(contact_17, (1.635,10.4)))
hierarchical_predecode3x.add(gdstk.Reference(contact_17, (2.195,10.54)))
hierarchical_predecode3x.add(gdstk.Reference(contact_17, (1.915,14.355)))
hierarchical_predecode3x.add(gdstk.Reference(contact_17, (1.635,14.215)))
hierarchical_predecode3x.add(gdstk.Reference(contact_17, (2.195,14.075)))
hierarchical_predecode3x.add(gdstk.Reference(contact_17, (1.495,15.21)))
hierarchical_predecode3x.add(gdstk.Reference(contact_17, (2.055,15.35)))
hierarchical_predecode3x.add(gdstk.Reference(contact_17, (2.195,15.49)))
hierarchical_predecode3x.add(gdstk.Reference(contact_17, (1.915,19.305)))
hierarchical_predecode3x.add(gdstk.Reference(contact_17, (2.055,19.165)))
hierarchical_predecode3x.add(gdstk.Reference(contact_17, (2.195,19.025)))
hierarchical_predecode3x.add(gdstk.Reference(contact_6, (0.5625,2.4075)))
hierarchical_predecode3x.add(gdstk.Reference(contact_7, (0.5625,2.4075)))
hierarchical_predecode3x.add(gdstk.Reference(contact_6, (2.37,2.4075)))
hierarchical_predecode3x.add(gdstk.Reference(contact_7, (2.37,2.4075)))
hierarchical_predecode3x.add(gdstk.Reference(contact_6, (0.5625,-0.0675)))
hierarchical_predecode3x.add(gdstk.Reference(contact_7, (0.5625,-0.0675)))
hierarchical_predecode3x.add(gdstk.Reference(contact_6, (2.37,-0.0675)))
hierarchical_predecode3x.add(gdstk.Reference(contact_7, (2.37,-0.0675)))
hierarchical_predecode3x.add(gdstk.Reference(contact_6, (0.5625,2.4075)))
hierarchical_predecode3x.add(gdstk.Reference(contact_7, (0.5625,2.4075)))
hierarchical_predecode3x.add(gdstk.Reference(contact_6, (2.37,2.4075)))
hierarchical_predecode3x.add(gdstk.Reference(contact_7, (2.37,2.4075)))
hierarchical_predecode3x.add(gdstk.Reference(contact_6, (0.5625,4.8825)))
hierarchical_predecode3x.add(gdstk.Reference(contact_7, (0.5625,4.8825)))
hierarchical_predecode3x.add(gdstk.Reference(contact_6, (2.37,4.8825)))
hierarchical_predecode3x.add(gdstk.Reference(contact_7, (2.37,4.8825)))
hierarchical_predecode3x.add(gdstk.Reference(contact_6, (0.5625,7.3575)))
hierarchical_predecode3x.add(gdstk.Reference(contact_7, (0.5625,7.3575)))
hierarchical_predecode3x.add(gdstk.Reference(contact_6, (2.37,7.3575)))
hierarchical_predecode3x.add(gdstk.Reference(contact_7, (2.37,7.3575)))
hierarchical_predecode3x.add(gdstk.Reference(contact_6, (0.5625,4.8825)))
hierarchical_predecode3x.add(gdstk.Reference(contact_7, (0.5625,4.8825)))
hierarchical_predecode3x.add(gdstk.Reference(contact_6, (2.37,4.8825)))
hierarchical_predecode3x.add(gdstk.Reference(contact_7, (2.37,4.8825)))
hierarchical_predecode3x.add(gdstk.Reference(contact_6, (0.5625,7.3575)))
hierarchical_predecode3x.add(gdstk.Reference(contact_7, (0.5625,7.3575)))
hierarchical_predecode3x.add(gdstk.Reference(contact_6, (2.37,7.3575)))
hierarchical_predecode3x.add(gdstk.Reference(contact_7, (2.37,7.3575)))
hierarchical_predecode3x.add(gdstk.Reference(contact_6, (0.5625,9.8325)))
hierarchical_predecode3x.add(gdstk.Reference(contact_7, (0.5625,9.8325)))
hierarchical_predecode3x.add(gdstk.Reference(contact_6, (2.37,9.8325)))
hierarchical_predecode3x.add(gdstk.Reference(contact_7, (2.37,9.8325)))
hierarchical_predecode3x.add(gdstk.Reference(contact_6, (0.5625,12.3075)))
hierarchical_predecode3x.add(gdstk.Reference(contact_7, (0.5625,12.3075)))
hierarchical_predecode3x.add(gdstk.Reference(contact_6, (2.37,12.3075)))
hierarchical_predecode3x.add(gdstk.Reference(contact_7, (2.37,12.3075)))
hierarchical_predecode3x.add(gdstk.Reference(contact_6, (0.5625,9.8325)))
hierarchical_predecode3x.add(gdstk.Reference(contact_7, (0.5625,9.8325)))
hierarchical_predecode3x.add(gdstk.Reference(contact_6, (2.37,9.8325)))
hierarchical_predecode3x.add(gdstk.Reference(contact_7, (2.37,9.8325)))
hierarchical_predecode3x.add(gdstk.Reference(contact_6, (0.5625,12.3075)))
hierarchical_predecode3x.add(gdstk.Reference(contact_7, (0.5625,12.3075)))
hierarchical_predecode3x.add(gdstk.Reference(contact_6, (2.37,12.3075)))
hierarchical_predecode3x.add(gdstk.Reference(contact_7, (2.37,12.3075)))
hierarchical_predecode3x.add(gdstk.Reference(contact_6, (0.5625,14.7825)))
hierarchical_predecode3x.add(gdstk.Reference(contact_7, (0.5625,14.7825)))
hierarchical_predecode3x.add(gdstk.Reference(contact_6, (2.37,14.7825)))
hierarchical_predecode3x.add(gdstk.Reference(contact_7, (2.37,14.7825)))
hierarchical_predecode3x.add(gdstk.Reference(contact_6, (0.5625,17.2575)))
hierarchical_predecode3x.add(gdstk.Reference(contact_7, (0.5625,17.2575)))
hierarchical_predecode3x.add(gdstk.Reference(contact_6, (2.37,17.2575)))
hierarchical_predecode3x.add(gdstk.Reference(contact_7, (2.37,17.2575)))
hierarchical_predecode3x.add(gdstk.Reference(contact_6, (0.5625,14.7825)))
hierarchical_predecode3x.add(gdstk.Reference(contact_7, (0.5625,14.7825)))
hierarchical_predecode3x.add(gdstk.Reference(contact_6, (2.37,14.7825)))
hierarchical_predecode3x.add(gdstk.Reference(contact_7, (2.37,14.7825)))
hierarchical_predecode3x.add(gdstk.Reference(contact_6, (0.5625,17.2575)))
hierarchical_predecode3x.add(gdstk.Reference(contact_7, (0.5625,17.2575)))
hierarchical_predecode3x.add(gdstk.Reference(contact_6, (2.37,17.2575)))
hierarchical_predecode3x.add(gdstk.Reference(contact_7, (2.37,17.2575)))
hierarchical_predecode3x.add(gdstk.Reference(contact_6, (0.5625,19.7325)))
hierarchical_predecode3x.add(gdstk.Reference(contact_7, (0.5625,19.7325)))
hierarchical_predecode3x.add(gdstk.Reference(contact_6, (2.37,19.7325)))
hierarchical_predecode3x.add(gdstk.Reference(contact_7, (2.37,19.7325)))
hierarchical_predecode3x.add(gdstk.Label('in_0', (0.175,1.1925), layer=13, texttype=0))
hierarchical_predecode3x.add(gdstk.Label('in_1', (0.315,3.7575), layer=13, texttype=0))
hierarchical_predecode3x.add(gdstk.Label('in_2', (0.455,6.1425), layer=13, texttype=0))
hierarchical_predecode3x.add(gdstk.Label('out_0', (3.845,1.1925), layer=11, texttype=0))
hierarchical_predecode3x.add(gdstk.Label('out_1', (3.845,3.7575), layer=11, texttype=0))
hierarchical_predecode3x.add(gdstk.Label('out_2', (3.845,6.1425), layer=11, texttype=0))
hierarchical_predecode3x.add(gdstk.Label('out_3', (3.845,8.7075), layer=11, texttype=0))
hierarchical_predecode3x.add(gdstk.Label('out_4', (3.845,11.0925), layer=11, texttype=0))
hierarchical_predecode3x.add(gdstk.Label('out_5', (3.845,13.6575), layer=11, texttype=0))
hierarchical_predecode3x.add(gdstk.Label('out_6', (3.845,16.0425), layer=11, texttype=0))
hierarchical_predecode3x.add(gdstk.Label('out_7', (3.845,18.6075), layer=11, texttype=0))
hierarchical_predecode3x.add(gdstk.Label('vdd', (0.63,12.375), layer=15, texttype=0))
hierarchical_predecode3x.add(gdstk.Label('vdd', (2.4375,7.425), layer=15, texttype=0))
hierarchical_predecode3x.add(gdstk.Label('vdd', (2.4375,7.425), layer=15, texttype=0))
hierarchical_predecode3x.add(gdstk.Label('vdd', (2.4375,17.325), layer=15, texttype=0))
hierarchical_predecode3x.add(gdstk.Label('vdd', (2.4375,2.475), layer=15, texttype=0))
hierarchical_predecode3x.add(gdstk.Label('vdd', (2.4375,2.475), layer=15, texttype=0))
hierarchical_predecode3x.add(gdstk.Label('vdd', (0.63,17.325), layer=15, texttype=0))
hierarchical_predecode3x.add(gdstk.Label('vdd', (0.63,17.325), layer=15, texttype=0))
hierarchical_predecode3x.add(gdstk.Label('vdd', (0.63,2.475), layer=15, texttype=0))
hierarchical_predecode3x.add(gdstk.Label('vdd', (0.63,2.475), layer=15, texttype=0))
hierarchical_predecode3x.add(gdstk.Label('vdd', (2.4375,12.375), layer=15, texttype=0))
hierarchical_predecode3x.add(gdstk.Label('vdd', (0.63,7.425), layer=15, texttype=0))
hierarchical_predecode3x.add(gdstk.Label('vdd', (0.63,7.425), layer=15, texttype=0))
hierarchical_predecode3x.add(gdstk.Label('vdd', (2.4375,17.325), layer=15, texttype=0))
hierarchical_predecode3x.add(gdstk.Label('gnd', (2.4375,9.9), layer=15, texttype=0))
hierarchical_predecode3x.add(gdstk.Label('gnd', (0.63,4.95), layer=15, texttype=0))
hierarchical_predecode3x.add(gdstk.Label('gnd', (0.63,0), layer=15, texttype=0))
hierarchical_predecode3x.add(gdstk.Label('gnd', (2.4375,0), layer=15, texttype=0))
hierarchical_predecode3x.add(gdstk.Label('gnd', (0.63,9.9), layer=15, texttype=0))
hierarchical_predecode3x.add(gdstk.Label('gnd', (2.4375,19.8), layer=15, texttype=0))
hierarchical_predecode3x.add(gdstk.Label('gnd', (2.4375,14.85), layer=15, texttype=0))
hierarchical_predecode3x.add(gdstk.Label('gnd', (0.63,14.85), layer=15, texttype=0))
hierarchical_predecode3x.add(gdstk.Label('gnd', (0.63,19.8), layer=15, texttype=0))
hierarchical_predecode3x.add(gdstk.Label('gnd', (2.4375,4.95), layer=15, texttype=0))

lib.write_gds('hierarchical_predecode3x8_0.gds')
